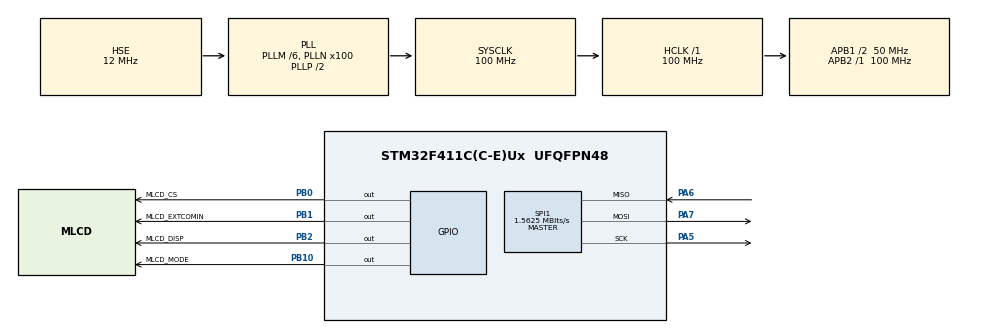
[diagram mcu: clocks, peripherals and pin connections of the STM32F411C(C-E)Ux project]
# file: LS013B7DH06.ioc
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Mcu.Family=STM32F4
Mcu.Name=STM32F411C(C-E)Ux
Mcu.Package=UFQFPN48
NVIC.PriorityGroup=NVIC_PRIORITYGROUP_4
PA13.Mode=Serial_Wire
PA13.Signal=SYS_JTMS-SWDIO
PA14.Mode=Serial_Wire
PA14.Signal=SYS_JTCK-SWCLK
PA5.Mode=Full_Duplex_Master
PA5.Signal=SPI1_SCK
PA6.Mode=Full_Duplex_Master
PA6.Signal=SPI1_MISO
PA7.Mode=Full_Duplex_Master
PA7.Signal=SPI1_MOSI
PB0.GPIO_Label=MLCD_CS
PB0.GPIO_Speed=GPIO_SPEED_FREQ_HIGH
PB0.PinState=GPIO_PIN_SET
PB0.Signal=GPIO_Output
PB1.GPIO_Label=MLCD_EXTCOMIN
PB1.GPIO_Speed=GPIO_SPEED_FREQ_HIGH
PB1.PinState=GPIO_PIN_SET
PB1.Signal=GPIO_Output
PB10.GPIO_Label=MLCD_MODE
PB10.GPIO_Speed=GPIO_SPEED_FREQ_HIGH
PB10.PinState=GPIO_PIN_SET
PB10.Signal=GPIO_Output
PB2.GPIO_Label=MLCD_DISP
PB2.GPIO_Speed=GPIO_SPEED_FREQ_HIGH
PB2.PinState=GPIO_PIN_SET
PB2.Signal=GPIO_Output
PH0\ -\ OSC_IN.Mode=HSE-External-Oscillator
PH0\ -\ OSC_IN.Signal=RCC_OSC_IN
PH1\ -\ OSC_OUT.Mode=HSE-External-Oscillator
PH1\ -\ OSC_OUT.Signal=RCC_OSC_OUT
ProjectManager.HeapSize=0xC500
ProjectManager.StackSize=0x500
ProjectManager.TargetToolchain=SW4STM32
RCC.48MHZClocksFreq_Value=50000000
RCC.AHBFreq_Value=100000000
RCC.APB1CLKDivider=RCC_HCLK_DIV2
RCC.APB1Freq_Value=50000000
RCC.APB1TimFreq_Value=100000000
RCC.APB2Freq_Value=100000000
RCC.APB2TimFreq_Value=100000000
RCC.CortexFreq_Value=100000000
RCC.HCLKFreq_Value=100000000
RCC.HSE_VALUE=12000000
RCC.HSI_VALUE=16000000
RCC.LSE_VALUE=32768
RCC.PLLM=6
RCC.PLLN=100
RCC.PLLSourceVirtual=RCC_PLLSOURCE_HSE
RCC.SYSCLKFreq_VALUE=100000000
RCC.SYSCLKSource=RCC_SYSCLKSOURCE_PLLCLK
RCC.VCOOutputFreq_Value=200000000
SPI1.BaudRatePrescaler=SPI_BAUDRATEPRESCALER_64
SPI1.CalculateBaudRate=1.5625 MBits/s
SPI1.Direction=SPI_DIRECTION_2LINES
SPI1.FirstBit=SPI_FIRSTBIT_LSB
SPI1.Mode=SPI_MODE_MASTER
SPI1.VirtualType=VM_MASTER
board=custom

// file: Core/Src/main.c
/* USER CODE BEGIN Header */
/**
  ******************************************************************************
  * @file           : main.c
  * @brief          : Main program body
  ******************************************************************************
  * @attention
  *
  * Copyright (c) 2023 STMicroelectronics.
  * All rights reserved.
  *
  * This software is licensed under terms that can be found in the LICENSE file
  * in the root directory of this software component.
  * If no LICENSE file comes with this software, it is provided AS-IS.
  *
  ******************************************************************************
  */
/* USER CODE END Header */
#include "main.h"

/* USER CODE BEGIN Includes */
#include "mlcd/mlcd_test.h"
#include "mlcd/fonts.h"
/* USER CODE END Includes */

 SPI_HandleTypeDef hspi1;

void SystemClock_Config(void);
static void MX_GPIO_Init(void);
static void MX_SPI1_Init(void);

int main(void)
{

  /* MCU Configuration--------------------------------------------------------*/

  /* Reset of all peripherals, Initializes the Flash interface and the Systick. */
  HAL_Init();

  /* Configure the system clock */
  SystemClock_Config();

  /* Initialize all configured peripherals */
  MX_GPIO_Init();
  MX_SPI1_Init();
  /* USER CODE BEGIN 2 */
  HAL_GPIO_WritePin(MLCD_CS_GPIO_Port, MLCD_CS_Pin, GPIO_PIN_RESET);
  HAL_GPIO_WritePin(MLCD_DISP_GPIO_Port, MLCD_DISP_Pin, GPIO_PIN_RESET);
  HAL_GPIO_WritePin(MLCD_MODE_GPIO_Port, MLCD_MODE_Pin, GPIO_PIN_SET);///use extcomin
  HAL_GPIO_WritePin(MLCD_EXTCOMIN_GPIO_Port, MLCD_EXTCOMIN_Pin, GPIO_PIN_RESET);
  mlcd_Init();
  HAL_Delay(1);
  /* USER CODE END 2 */

  /* Infinite loop */
  /* USER CODE BEGIN WHILE */
  char start = '0';
  while (1)
  {
    mlcd_Clear();
    HAL_Delay(5);
    mlcd_WriteChar(start, Font_16x26, Red);
    mlcd_WriteChar(start, Font_16x26, Green);
    mlcd_WriteChar(start, Font_16x26, Blue);
    if(start++ > 'z')
      start = '0';
    mlcd_Refresh();
    /* USER CODE END WHILE */

    /* USER CODE BEGIN 3 */
    HAL_Delay(500);
//    HAL_GPIO_WritePin(MLCD_EXTCOMIN_GPIO_Port, MLCD_EXTCOMIN_Pin, GPIO_PIN_SET);
//    HAL_Delay(50);
//    HAL_GPIO_WritePin(MLCD_EXTCOMIN_GPIO_Port, MLCD_EXTCOMIN_Pin, GPIO_PIN_RESET);
  }
  /* USER CODE END 3 */
}

void SystemClock_Config(void)
{
  RCC_OscInitTypeDef RCC_OscInitStruct = {0};
  RCC_ClkInitTypeDef RCC_ClkInitStruct = {0};

  /** Configure the main internal regulator output voltage
  */
  __HAL_RCC_PWR_CLK_ENABLE();
  __HAL_PWR_VOLTAGESCALING_CONFIG(PWR_REGULATOR_VOLTAGE_SCALE1);

  /** Initializes the RCC Oscillators according to the specified parameters
  * in the RCC_OscInitTypeDef structure.
  */
  RCC_OscInitStruct.OscillatorType = RCC_OSCILLATORTYPE_HSE;
  RCC_OscInitStruct.HSEState = RCC_HSE_ON;
  RCC_OscInitStruct.PLL.PLLState = RCC_PLL_ON;
  RCC_OscInitStruct.PLL.PLLSource = RCC_PLLSOURCE_HSE;
  RCC_OscInitStruct.PLL.PLLM = 6;
  RCC_OscInitStruct.PLL.PLLN = 100;
  RCC_OscInitStruct.PLL.PLLP = RCC_PLLP_DIV2;
  RCC_OscInitStruct.PLL.PLLQ = 4;
  if (HAL_RCC_OscConfig(&RCC_OscInitStruct) != HAL_OK)
  {
    Error_Handler();
  }

  /** Initializes the CPU, AHB and APB buses clocks
  */
  RCC_ClkInitStruct.ClockType = RCC_CLOCKTYPE_HCLK|RCC_CLOCKTYPE_SYSCLK
                              |RCC_CLOCKTYPE_PCLK1|RCC_CLOCKTYPE_PCLK2;
  RCC_ClkInitStruct.SYSCLKSource = RCC_SYSCLKSOURCE_PLLCLK;
  RCC_ClkInitStruct.AHBCLKDivider = RCC_SYSCLK_DIV1;
  RCC_ClkInitStruct.APB1CLKDivider = RCC_HCLK_DIV2;
  RCC_ClkInitStruct.APB2CLKDivider = RCC_HCLK_DIV1;

  if (HAL_RCC_ClockConfig(&RCC_ClkInitStruct, FLASH_LATENCY_3) != HAL_OK)
  {
    Error_Handler();
  }
}

static void MX_SPI1_Init(void)
{

  /* SPI1 parameter configuration*/
  hspi1.Instance = SPI1;
  hspi1.Init.Mode = SPI_MODE_MASTER;
  hspi1.Init.Direction = SPI_DIRECTION_2LINES;
  hspi1.Init.DataSize = SPI_DATASIZE_8BIT;
  hspi1.Init.CLKPolarity = SPI_POLARITY_LOW;
  hspi1.Init.CLKPhase = SPI_PHASE_1EDGE;
  hspi1.Init.NSS = SPI_NSS_SOFT;
  hspi1.Init.BaudRatePrescaler = SPI_BAUDRATEPRESCALER_64;
  hspi1.Init.FirstBit = SPI_FIRSTBIT_LSB;
  hspi1.Init.TIMode = SPI_TIMODE_DISABLE;
  hspi1.Init.CRCCalculation = SPI_CRCCALCULATION_DISABLE;
  hspi1.Init.CRCPolynomial = 10;
  if (HAL_SPI_Init(&hspi1) != HAL_OK)
  {
    Error_Handler();
  }

}

static void MX_GPIO_Init(void)
{
  GPIO_InitTypeDef GPIO_InitStruct = {0};

  /* GPIO Ports Clock Enable */
  __HAL_RCC_GPIOH_CLK_ENABLE();
  __HAL_RCC_GPIOA_CLK_ENABLE();
  __HAL_RCC_GPIOB_CLK_ENABLE();

  /*Configure GPIO pin Output Level */
  HAL_GPIO_WritePin(GPIOB, MLCD_CS_Pin|MLCD_EXTCOMIN_Pin|MLCD_DISP_Pin|MLCD_MODE_Pin, GPIO_PIN_SET);

  /*Configure GPIO pins : MLCD_CS_Pin MLCD_EXTCOMIN_Pin MLCD_DISP_Pin MLCD_MODE_Pin */
  GPIO_InitStruct.Pin = MLCD_CS_Pin|MLCD_EXTCOMIN_Pin|MLCD_DISP_Pin|MLCD_MODE_Pin;
  GPIO_InitStruct.Mode = GPIO_MODE_OUTPUT_PP;
  GPIO_InitStruct.Pull = GPIO_NOPULL;
  GPIO_InitStruct.Speed = GPIO_SPEED_FREQ_HIGH;
  HAL_GPIO_Init(GPIOB, &GPIO_InitStruct);

}

void Error_Handler(void)
{
  __disable_irq();
  while (1)
  {
  }
}
